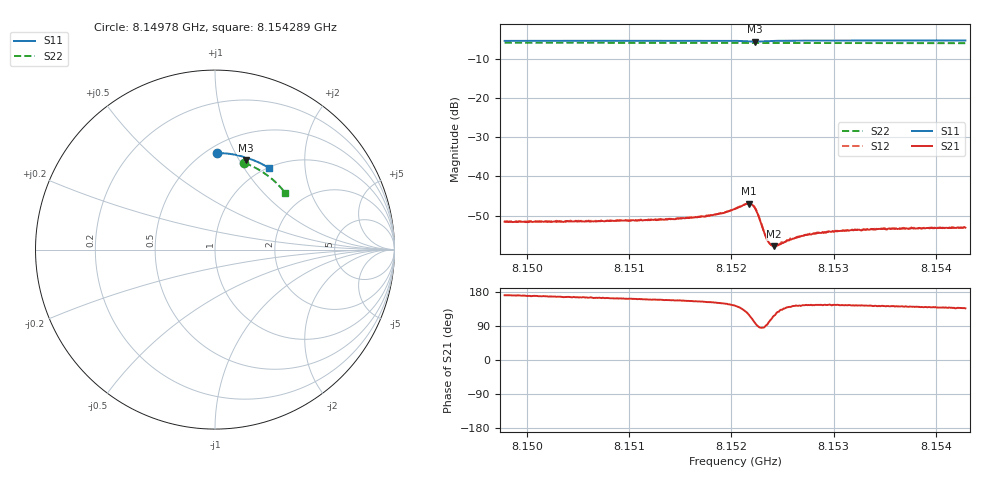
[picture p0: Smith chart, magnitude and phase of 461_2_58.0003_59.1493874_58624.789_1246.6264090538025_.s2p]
#  HZ  S  RI  R  50.00
! Rohde & Schwarz Vector Network Analyzer
! Rohde-Schwarz,ZNB20-2Port,1311601062101988,3.16
! Created: UTC 3/21/2024, 1:10:58 AM
! freq[Hz]  re:S11  im:S11  re:S21  im:S21  re:S12  im:S12  re:S22  im:S22
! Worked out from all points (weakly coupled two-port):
!   401 points, 8.14978 GHz to 8.154289 GHz, reference 50 ohm
!   highest |S21| = -46.92 dB at 8.15217 GHz (marker M1); lowest = -57.8 dB at 8.152418 GHz (marker M2)
!   lowest |S11| = -5.6 dB at 8.152226 GHz (marker M3), VSWR 3.22, Z = 38.6 + j53.2 ohm
!   |S11| at or under -10 dB: nowhere
!   |S22| runs from -6.0 to -5.9 dB; largest |S21 - S12| = 0.00013
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8.14978e9  0.00881 0.5379  -0.00261 0.000421  -0.00262 0.00044  0.1637 0.4829
8.1505352e9  0.0614 0.5357  -0.00257 0.000689  -0.00261 0.000744  0.2086 0.4641
8.1512904e9  0.1137 0.5281  -0.00261 0.00101  -0.00263 0.00108  0.251 0.4411
8.1515384e9  0.1311 0.5245  -0.00267 0.00117  -0.00264 0.00122  0.2644 0.4328
8.1517526e9  0.1463 0.5204  -0.00277 0.00141  -0.0028 0.00147  0.2757 0.4252
8.1519217e9  0.1588 0.5162  -0.00292 0.00174  -0.00294 0.00183  0.2848 0.4189
8.1520344e9  0.1674 0.5117  -0.0031 0.0023  -0.00306 0.00236  0.2905 0.4146
8.1521697e9  0.1741 0.5007  -0.00221 0.00393  -0.00216 0.00402  0.2972 0.4092
8.1522035e9  0.1722 0.4982  -0.00134 0.00411  -0.00127 0.00418  0.2987 0.4078
8.1522261e9  0.1704 0.4981  -0.000646 0.00396  -0.00061 0.004  0.2996 0.4071
8.1522599e9  0.1686 0.5001  4.56e-05 0.00324  0.000115 0.00327  0.3013 0.4058
8.1523275e9  0.1717 0.5054  4.52e-05 0.00181  8.63e-05 0.00184  0.3047 0.4035
8.15235e9  0.1736 0.5064  -8.75e-05 0.00153  -0.000101 0.00154  0.3058 0.4027
8.1523839e9  0.177 0.5072  -0.000374 0.00129  -0.000392 0.00129  0.3077 0.4014
8.1524177e9  0.18 0.5074  -0.000585 0.00115  -0.000582 0.00117  0.3092 0.4001
8.1524515e9  0.1829 0.5073  -0.000787 0.00105  -0.000769 0.00107  0.311 0.3986
8.1525868e9  0.1939 0.5051  -0.00122 0.000989  -0.00126 0.00104  0.3178 0.3932
8.1526995e9  0.2022 0.5025  -0.00142 0.001  -0.00141 0.00103  0.323 0.3886
8.1527897e9  0.2085 0.5003  -0.0015 0.00107  -0.00151 0.00107  0.3274 0.3848
8.1530489e9  0.2258 0.4935  -0.00165 0.00115  -0.00163 0.00118  0.3394 0.3736
8.1535449e9  0.2574 0.4788  -0.0017 0.00134  -0.00171 0.00136  0.3614 0.3514
8.1542889e9  0.3022 0.4532  -0.00161 0.00153  -0.00164 0.00152  0.3914 0.3155
